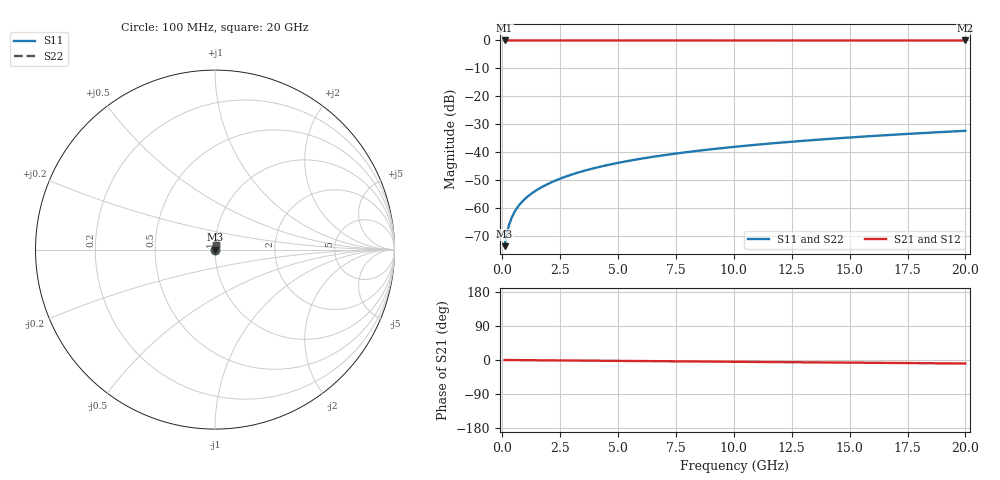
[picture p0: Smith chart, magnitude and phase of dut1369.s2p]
! Touchstone file exported from HFSS 2026.1.0
!  File:  C:/ffzhzh/LocalFiles/Ansys_Project_Files/temp_train_TSV_1369_1783196197_43440.aedt
!  Generated:  04:18:14 AM Jul  5, 2026
!  Design:  TSV
!  Project:  temp_train_TSV_1369_1783196197_43440
! Variables:
!  h_bsmrdl = 2um
!  h_ox = 20um
!  h_rdl = 5um
!  h_sub = 90.84um
!  h_tmrdl = 5um
!  h_tsv = 90.84um
!  h_via = 3um
!  l_bsmrdl = 300um
!  l_sub = 421.14um
!  l_tmrdl = 200um
!  m_sub = 200um
!  pitch = 50.84um
!  r_tsv = 10.57um
!  s_tmrdl = 10um
!  w_bsmrdl = 18um
!  w_sub = 500um
!  w_tmrdl = 12um
!  x_tsv_center1 = 206um
!  x_tsv_center2 = 524um
!  x_tsv_center3 = 736um
!  x_tsv_center4 = 1054um
!  x_tsv_center5 = 1266um
!  x_tsv_center6 = 1584um
# GHz S MA R 50.000000
! Terminal data exported
! Port[1] = TSV1_1_T1
! Port[2] = TSV1_1_T2
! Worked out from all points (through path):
!   200 points, 100 MHz to 20 GHz, reference 50 ohm
!   highest |S21| = 0.00 dB at 100 MHz (marker M1); lowest = 0.0 dB at 20 GHz (marker M2)
!   group delay of S21, straight-line fit = 1.28 ps
!   lowest |S11| = -73.6 dB at 100 MHz (marker M3), VSWR 1.00, Z = 50 + j0.0167 ohm
!   |S11| at or under -10 dB: start of sweep to end of sweep
!   |S22| runs from -73.6 to -32.3 dB; largest |S21 - S12| = 2.3e-15
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0.1  0.00021 52.7  0.9999 -0.0  0.9999 -0.0  0.00021 52.7
! Gamma 0 0 0 0
! Port Impedance 50 0 50 0
0.2  0.0003597 67.1  0.9999 -0.1  0.9999 -0.1  0.0003597 67.1
0.3  0.0005159 72.0  0.9998 -0.1  0.9998 -0.1  0.0005159 72.0
0.4  0.0006693 74.1  0.9998 -0.2  0.9998 -0.2  0.0006693 74.1
0.5  0.0008179 75.2  0.9998 -0.2  0.9998 -0.2  0.0008179 75.2
0.6  0.0009615 75.8  0.9998 -0.3  0.9998 -0.3  0.0009615 75.8
0.7  0.0011 76.3  0.9997 -0.3  0.9997 -0.3  0.0011 76.3
0.9  0.001368 77.0  0.9997 -0.4  0.9997 -0.4  0.001368 77.0
1.1  0.001627 77.7  0.9997 -0.5  0.9997 -0.5  0.001627 77.7
1.3  0.001881 78.3  0.9996 -0.6  0.9996 -0.6  0.001881 78.3
1.6  0.002258 79.1  0.9996 -0.8  0.9996 -0.8  0.002258 79.1
1.9  0.002634 79.7  0.9996 -0.9  0.9996 -0.9  0.002634 79.7
2.6  0.00351 80.8  0.9995 -1.2  0.9995 -1.2  0.00351 80.8
3.5  0.004632 81.4  0.9994 -1.6  0.9994 -1.6  0.004632 81.4
4.2  0.005499 81.7  0.9994 -2.0  0.9994 -2.0  0.005499 81.7
5  0.006482 81.7  0.9993 -2.3  0.9993 -2.3  0.006482 81.7
6.8  0.00867 81.6  0.9992 -3.2  0.9992 -3.2  0.00867 81.6
8.3  0.01047 81.4  0.9991 -3.9  0.9991 -3.9  0.01047 81.4
10.1  0.01263 81.0  0.999 -4.7  0.999 -4.7  0.01263 81.0
13.4  0.01654 80.0  0.9988 -6.2  0.9988 -6.2  0.01654 80.0
16.7  0.02041 78.8  0.9986 -7.7  0.9986 -7.7  0.02041 78.8
20  0.02423 77.6  0.9984 -9.2  0.9984 -9.2  0.02423 77.6
